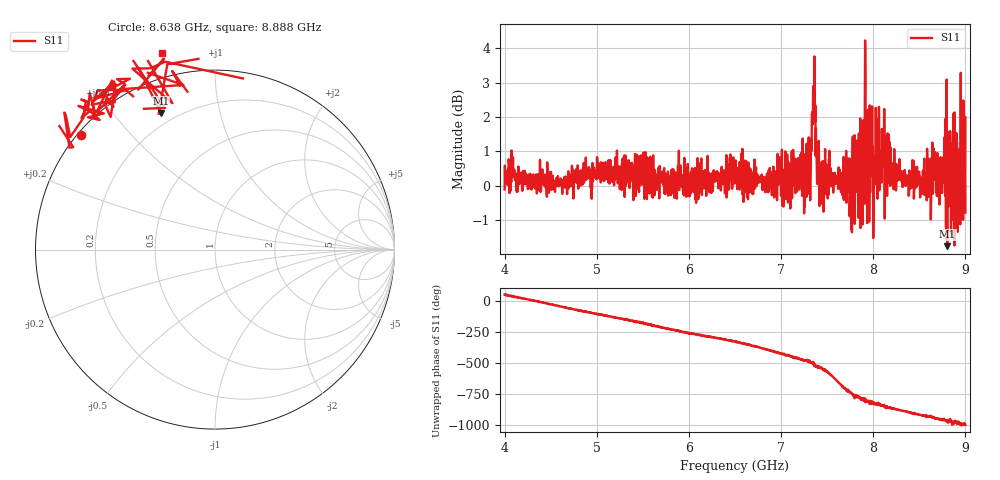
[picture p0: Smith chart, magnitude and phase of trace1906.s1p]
! Created with skrf 1.8.0 (http://scikit-rf.org).
# Hz S RI R 50.0
!freq ReS11 ImS11
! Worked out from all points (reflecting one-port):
!   1601 points, 4 GHz to 9 GHz, reference 50 ohm
!   lowest |S11| = -1.7 dB at 8.803 GHz (marker M1), VSWR 9.98, Z = 7.29 + j33.5 ohm
!   phase of S11 starts at 52 deg and turns -1053 deg over the sweep
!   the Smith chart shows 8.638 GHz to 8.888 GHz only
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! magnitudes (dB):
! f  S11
! 4 GHz  -0.1
! 4.069 GHz  0.7
! 4.625 GHz  -0.2
! 5.25 GHz  -0.1
! 5.875 GHz  0.3
! 6.5 GHz  0.6
! 7.125 GHz  0.1
! 7.297 GHz  0.5
! 7.353 GHz  2.4
! 7.372 GHz  2.3
! 7.406 GHz  1.0
! 7.438 GHz  -0.3
! 7.503 GHz  0.6
! 7.662 GHz  0.4
! 7.716 GHz  0.2
! 7.75 GHz  0.1
! 7.812 GHz  -0.1
! 7.922 GHz  -0.1
! 7.969 GHz  1.6
! 7.981 GHz  0.3
! 8.047 GHz  -0.4
! 8.066 GHz  -0.1
! 8.097 GHz  0.7
! 8.375 GHz  0.2
! 8.803 GHz  -1.7
! 8.919 GHz  0.1
! 8.972 GHz  0.4
! 9 GHz  -0.8
